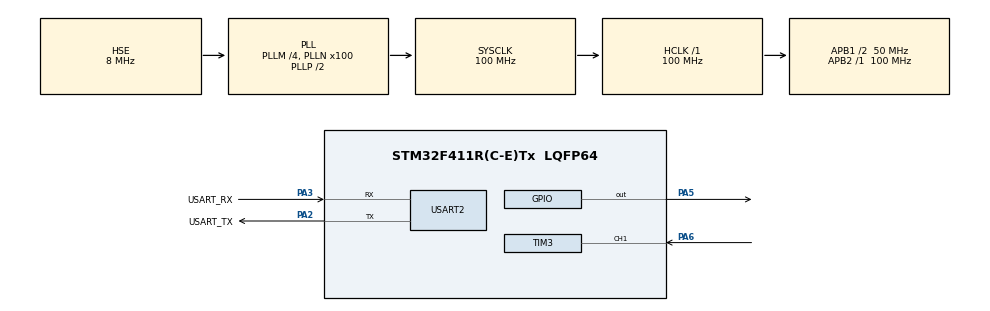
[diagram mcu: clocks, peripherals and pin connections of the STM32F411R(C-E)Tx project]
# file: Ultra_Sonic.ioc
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Mcu.Family=STM32F4
Mcu.Name=STM32F411R(C-E)Tx
Mcu.Package=LQFP64
NVIC.PriorityGroup=NVIC_PRIORITYGROUP_0
NVIC.TIM3_IRQn=true\:0\:0\:false\:false\:true\:true\:true\:true
NVIC.USART2_IRQn=true\:0\:0\:false\:false\:true\:true\:true\:true
PA13.GPIO_Label=TMS
PA13.Mode=Serial_Wire
PA13.Signal=SYS_JTMS-SWDIO
PA14.GPIO_Label=TCK
PA14.Mode=Serial_Wire
PA14.Signal=SYS_JTCK-SWCLK
PA2.GPIO_Label=USART_TX
PA2.Mode=Asynchronous
PA2.Signal=USART2_TX
PA3.GPIO_Label=USART_RX
PA3.Mode=Asynchronous
PA3.Signal=USART2_RX
PA5.GPIO_Speed=GPIO_SPEED_FREQ_HIGH
PA5.Signal=GPIO_Output
PA6.Signal=S_TIM3_CH1
PB3.GPIO_Label=SWO
PB3.Signal=SYS_JTDO-SWO
PC14-OSC32_IN.Mode=LSE-External-Oscillator
PC14-OSC32_IN.Signal=RCC_OSC32_IN
PC15-OSC32_OUT.Mode=LSE-External-Oscillator
PC15-OSC32_OUT.Signal=RCC_OSC32_OUT
PH0\ -\ OSC_IN.Mode=HSE-External-Oscillator
PH0\ -\ OSC_IN.Signal=RCC_OSC_IN
PH1\ -\ OSC_OUT.Mode=HSE-External-Oscillator
PH1\ -\ OSC_OUT.Signal=RCC_OSC_OUT
ProjectManager.HeapSize=0x200
ProjectManager.StackSize=0x400
ProjectManager.TargetToolchain=STM32CubeIDE
RCC.48MHZClocksFreq_Value=50000000
RCC.AHBFreq_Value=100000000
RCC.APB1CLKDivider=RCC_HCLK_DIV2
RCC.APB1Freq_Value=50000000
RCC.APB1TimFreq_Value=100000000
RCC.APB2Freq_Value=100000000
RCC.APB2TimFreq_Value=100000000
RCC.CortexFreq_Value=100000000
RCC.FLatency-AdvancedSettings=FLASH_LATENCY_3
RCC.HCLKFreq_Value=100000000
RCC.HSE_VALUE=8000000
RCC.HSI_VALUE=16000000
RCC.PLLM=4
RCC.PLLN=100
RCC.PLLSourceVirtual=RCC_PLLSOURCE_HSE
RCC.SYSCLKFreq_VALUE=100000000
RCC.SYSCLKSource=RCC_SYSCLKSOURCE_PLLCLK
RCC.VCOOutputFreq_Value=200000000
SH.S_TIM3_CH1.0=TIM3_CH1,Input_Capture1_from_TI1
TIM3.Channel-Input_Capture1_from_TI1=TIM_CHANNEL_1
TIM3.Prescaler=100-1
USART2.VirtualMode=VM_ASYNC
VP_TIM3_VS_ClockSourceINT.Mode=Internal
board=NUCLEO-F411RE

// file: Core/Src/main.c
/* USER CODE BEGIN Header */
/**
  ******************************************************************************
  * @file           : main.c
  * @brief          : Main program body
  ******************************************************************************
  * @attention
  *
  * Copyright (c) 2023 STMicroelectronics.
  * All rights reserved.
  *
  * This software is licensed under terms that can be found in the LICENSE file
  * in the root directory of this software component.
  * If no LICENSE file comes with this software, it is provided AS-IS.
  *
  ******************************************************************************
  */
/* USER CODE END Header */
#include "main.h"
#include "tim.h"
#include "usart.h"
#include "gpio.h"

/* USER CODE BEGIN Includes */

#include "delay.h"
#include "stdio.h"

/* USER CODE END Includes */

/* USER CODE BEGIN PD */

#define TRIG_PORT GPIOA
#define TRIG_PIN GPIO_PIN_5

/* USER CODE END PD */

/* USER CODE BEGIN PM */
#ifdef __GNUC__
  /* With GCC, small printf (option LD Linker->Libraries->Small printf
     set to 'Yes') calls __io_putchar() */
  #define PUTCHAR_PROTOTYPE int __io_putchar(int ch)
#else
  #define PUTCHAR_PROTOTYPE int fputc(int ch, FILE *f)
#endif /* __GNUC__ */
PUTCHAR_PROTOTYPE
{
  /* Place your implementation of fputc here */
  /* e.g. write a character to the EVAL_COM1 and Loop until the end of transmission */
  HAL_UART_Transmit(&huart2, (uint8_t *)&ch, 1, 0xFFFF);

  return ch;
}
/* USER CODE END PM */

/* USER CODE BEGIN PV */

uint32_t INC_Value1 = 0; // Echo High되는 순간
uint32_t INC_Value2 = 0; // Echo Low 되는 순간
uint32_t echoTime = 0; // Distance(왕복 거리)를 측정하기 위한 Echo Time()
uint8_t captureFlag = 0;
uint8_t distance = 0;

/* USER CODE END PV */

void SystemClock_Config(void);
/* USER CODE BEGIN PFP */

// Echo read
// Echo가 High가 되는 순간, Interrupt가 발생한다.
// 그때부터 Falling Edge가 발생하는 순간을 캡쳐하기 위한 Callback 함수.
void HAL_TIM_IC_CaptureCallback(TIM_HandleTypeDef *htim)
{
	if(htim->Channel == HAL_TIM_ACTIVE_CHANNEL_1) // 만약 인터럽트 소스 채널이면,(우리가 1번 채널을 쓰기로 설정)
	{
		if(captureFlag == 0) // 첫 번째 캡쳐가 되지 않았다면,(Falling Edge가 발생하지 않았다면,)
		{
			INC_Value1 = HAL_TIM_ReadCapturedValue(htim, TIM_CHANNEL_1); // 첫 번째 Value를 읽어라.
			captureFlag = 1; // 첫 번째 캡쳐 완료

			// Polarity 변경(Rising -> Falling)
			__HAL_TIM_SET_CAPTUREPOLARITY(htim, TIM_CHANNEL_1, TIM_INPUTCHANNELPOLARITY_FALLING); // Echo Falling을 캡쳐해야 하므로
		}
		else if(captureFlag == 1) // 만약 첫 번쨰 캡쳐가 이미 완료됐다면,
		{
			INC_Value2 = HAL_TIM_ReadCapturedValue(htim, TIM_CHANNEL_1);
			__HAL_TIM_SET_COUNTER(&htim3, 0); // reset Counter

			if(INC_Value2 > INC_Value1)
			{
				echoTime = INC_Value2 - INC_Value1;
			}
			else if(INC_Value1 > INC_Value2) // 거리가 너무 길면, INC_Value2 가 Overflow되어 count가 0으로 뚝 떨어져서 INC_Value1보다 작아질 수 있다.
			{
				echoTime = (0xffff - INC_Value1) + INC_Value2;
			}
			distance = echoTime / 58;
			captureFlag = 0;

			__HAL_TIM_SET_CAPTUREPOLARITY(htim, TIM_CHANNEL_1, TIM_INPUTCHANNELPOLARITY_RISING); // 다시 Echo High를 캡쳐하도록 설정
			__HAL_TIM_DISABLE_IT(&htim3, TIM_IT_CC1);
		}
	}
}

void HCSR04_Read(void)
{
	HAL_GPIO_WritePin(TRIG_PORT, TRIG_PIN, 1); // Trig Pin High
	delay_us(10);							   // Delay 10us
	HAL_GPIO_WritePin(TRIG_PORT, TRIG_PIN, 0); // Trig Pin Low

	__HAL_TIM_ENABLE_IT(&htim3, TIM_IT_CC1); // Set Timer Enable
}

/* USER CODE END PFP */

int main(void)
{

  /* MCU Configuration--------------------------------------------------------*/

  /* Reset of all peripherals, Initializes the Flash interface and the Systick. */
  HAL_Init();

  /* Configure the system clock */
  SystemClock_Config();

  /* Initialize all configured peripherals */
  MX_GPIO_Init();
  MX_USART2_UART_Init();
  MX_TIM3_Init();
  /* USER CODE BEGIN 2 */

  HAL_TIM_IC_Start_IT(&htim3, TIM_CHANNEL_1);

  /* USER CODE END 2 */

  /* Infinite loop */
  while (1)
  {

    /* USER CODE BEGIN 3 */
	  HCSR04_Read();
	  printf("%d cm\r\n", distance);
	  HAL_Delay(200);
  }
  /* USER CODE END 3 */
}

void SystemClock_Config(void)
{
  RCC_OscInitTypeDef RCC_OscInitStruct = {0};
  RCC_ClkInitTypeDef RCC_ClkInitStruct = {0};

  /** Configure the main internal regulator output voltage
  */
  __HAL_RCC_PWR_CLK_ENABLE();
  __HAL_PWR_VOLTAGESCALING_CONFIG(PWR_REGULATOR_VOLTAGE_SCALE1);

  /** Initializes the RCC Oscillators according to the specified parameters
  * in the RCC_OscInitTypeDef structure.
  */
  RCC_OscInitStruct.OscillatorType = RCC_OSCILLATORTYPE_HSE;
  RCC_OscInitStruct.HSEState = RCC_HSE_ON;
  RCC_OscInitStruct.PLL.PLLState = RCC_PLL_ON;
  RCC_OscInitStruct.PLL.PLLSource = RCC_PLLSOURCE_HSE;
  RCC_OscInitStruct.PLL.PLLM = 4;
  RCC_OscInitStruct.PLL.PLLN = 100;
  RCC_OscInitStruct.PLL.PLLP = RCC_PLLP_DIV2;
  RCC_OscInitStruct.PLL.PLLQ = 4;
  if (HAL_RCC_OscConfig(&RCC_OscInitStruct) != HAL_OK)
  {
    Error_Handler();
  }

  /** Initializes the CPU, AHB and APB buses clocks
  */
  RCC_ClkInitStruct.ClockType = RCC_CLOCKTYPE_HCLK|RCC_CLOCKTYPE_SYSCLK
                              |RCC_CLOCKTYPE_PCLK1|RCC_CLOCKTYPE_PCLK2;
  RCC_ClkInitStruct.SYSCLKSource = RCC_SYSCLKSOURCE_PLLCLK;
  RCC_ClkInitStruct.AHBCLKDivider = RCC_SYSCLK_DIV1;
  RCC_ClkInitStruct.APB1CLKDivider = RCC_HCLK_DIV2;
  RCC_ClkInitStruct.APB2CLKDivider = RCC_HCLK_DIV1;

  if (HAL_RCC_ClockConfig(&RCC_ClkInitStruct, FLASH_LATENCY_3) != HAL_OK)
  {
    Error_Handler();
  }
}

void Error_Handler(void)
{
  __disable_irq();
  while (1)
  {
  }
}
